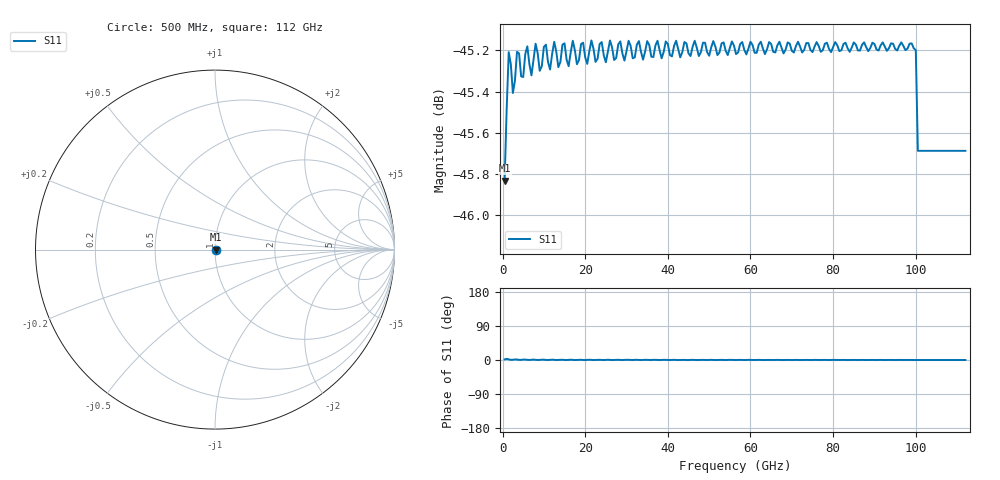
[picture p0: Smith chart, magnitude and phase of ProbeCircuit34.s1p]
! File created by SignalIntegrity v1.2.1: Signal and Power Integrity Tools
! https://github.com/TeledyneLeCroy/SignalIntegrity
# MHz S MA R 50.0
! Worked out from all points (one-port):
!   224 points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, 500 MHz to 112 GHz, reference 50 ohm
!   lowest |S11| = -45.8 dB at 500 MHz (marker M1), VSWR 1.01, Z = 50.5 + j0.0135 ohm
!   |S11| at or under -10 dB: start of sweep to end of sweep
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500  0.005109 1.5
1500  0.00549 1.8
2500  0.005366 0.7
3500  0.005491 1.2
5000  0.005414 1.0
6000  0.005508 0.4
7000  0.005419 0.6
8000  0.005516 0.6
9000  0.005433 0.3
10000  0.005506 0.8
11500  0.005437 0.5
12500  0.005522 0.4
13500  0.005444 0.2
14500  0.005513 0.7
16000  0.005447 0.5
17000  0.005525 0.4
18000  0.005453 0.2
28500  0.005523 0.1
29500  0.005464 0.3
30500  0.005525 0.3
42500  0.0055 -0.1
56500  0.005484 0.0
70500  0.005489 0.2
84500  0.005504 0.3
98500  0.005516 0.2
100000  0.005496 0.1
100500  0.005195 0.0
112000  0.005195 0.0
